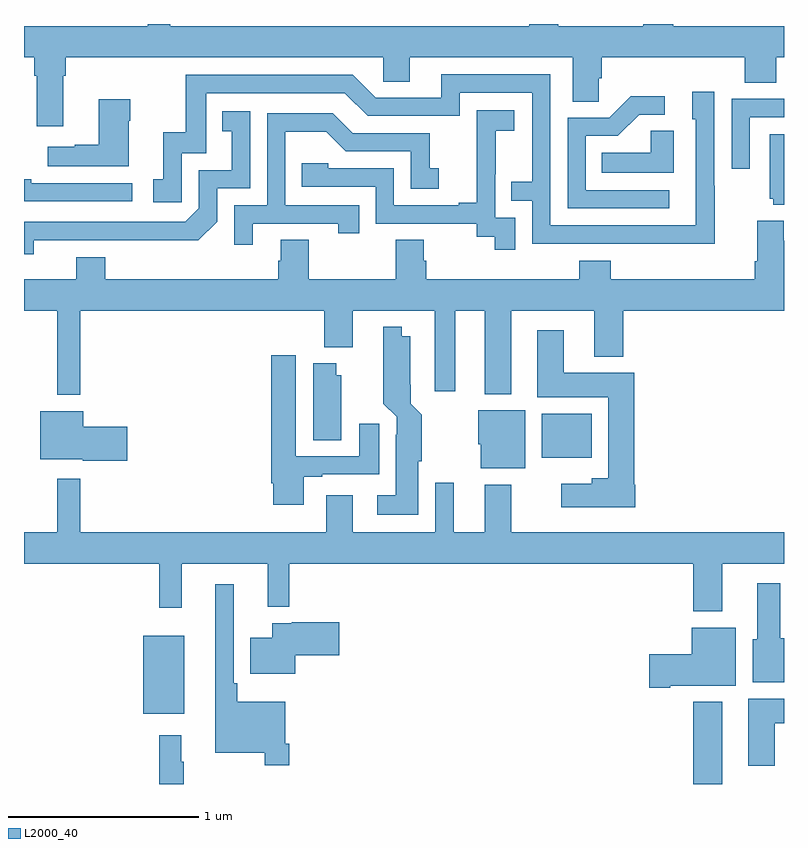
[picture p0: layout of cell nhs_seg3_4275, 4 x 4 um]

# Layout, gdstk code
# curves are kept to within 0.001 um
import gdstk
lib = gdstk.Library(unit=1e-6, precision=1e-09)
def R(c, l, rs):  # rectangles x0, y0, x1, y1
    for r in rs: c.add(gdstk.rectangle(r[:2], r[2:], *l))
def P(c, l, *ps):  # polygons
    for p in ps: c.add(gdstk.Polygon(p, *l))
L2000_40 = (2000, 40)

nhs_seg3_4275 = lib.new_cell('nhs_seg3_4275')
R(nhs_seg3_4275, L2000_40, [(340.523,722.4,340.675,722.833), (337.628,722.771,337.843,723.181), (339.725,724.118,339.988,724.348)])
P(nhs_seg3_4275, L2000_40, [(337.207,726.128),(337.22,726.128),(337.22,726.224),(338.892,726.224),(338.892,726.097),(339.031,726.097),(339.031,726.224),(339.887,726.224),(339.887,725.992),(340.026,725.992),(340.026,726.115),(340.04,726.115),(340.04,726.224),(340.793,726.224),(340.793,726.091),(340.958,726.091),(340.958,726.224),(341,726.224),(341,726.388),(340.418,726.388),(340.418,726.4),(340.258,726.4),(340.258,726.388),(339.813,726.388),(339.813,726.4),(339.658,726.4),(339.658,726.388),(337.771,726.388),(337.771,726.4),(337.65,726.4),(337.65,726.388),(337,726.388),(337,726.224),(337.055,726.224),(337.055,726.128),(337.067,726.128),(337.067,725.862),(337.207,725.862)],
  [(340.635,725.549),(340.632,725.549),(340.632,726.043),(340.517,726.043),(340.517,725.898),(340.536,725.898),(340.536,725.34),(339.771,725.34),(339.771,726.135),(339.197,726.135),(339.197,726.012),(338.85,726.012),(338.73,726.132),(337.851,726.132),(337.851,725.83),(337.733,725.83),(337.733,725.583),(337.68,725.583),(337.68,725.463),(337.83,725.463),(337.83,725.721),(337.959,725.721),(337.959,726.036),(338.688,726.036),(338.808,725.916),(339.294,725.916),(339.294,726.039),(339.675,726.039),(339.675,725.57),(339.565,725.57),(339.565,725.469),(339.675,725.469),(339.675,725.244),(340.635,725.243)],
  [(340.396,725.526),(339.957,725.526),(339.957,725.811),(340.126,725.811),(340.237,725.922),(340.372,725.922),(340.372,726.02),(340.193,726.02),(340.08,725.907),(339.861,725.907),(339.861,725.43),(340.396,725.43)],
  [(340.821,725.91),(341,725.91),(341,726.006),(340.725,726.006),(340.725,725.637),(340.821,725.637)],
  [(337.552,725.891),(337.56,725.891),(337.56,726.004),(337.394,726.004),(337.394,725.765),(337.268,725.765),(337.268,725.755),(337.125,725.755),(337.125,725.651),(337.552,725.651)],
  [(339.585,725.379),(339.48,725.379),(339.48,725.609),(339.482,725.609),(339.482,725.837),(339.58,725.837),(339.58,725.947),(339.382,725.947),(339.382,725.741),(339.383,725.741),(339.383,725.458),(339.287,725.458),(339.287,725.445),(338.946,725.445),(338.946,725.64),(338.601,725.64),(338.601,725.667),(338.461,725.667),(338.461,725.544),(338.85,725.544),(338.85,725.349),(339.384,725.349),(339.384,725.281),(339.477,725.281),(339.477,725.211),(339.585,725.211)],
  [(337.05,725.262),(337.918,725.261),(338.016,725.358),(338.016,725.535),(338.19,725.535),(338.19,725.941),(338.044,725.941),(338.044,725.835),(338.093,725.835),(338.093,725.631),(337.92,725.631),(337.92,725.43),(337.848,725.358),(337,725.358),(337,725.189),(337.05,725.189)],
  [(338.203,725.349),(338.654,725.349),(338.654,725.298),(338.765,725.298),(338.765,725.445),(338.376,725.445),(338.376,725.834),(338.59,725.834),(338.694,725.73),(339.036,725.73),(339.036,725.532),(339.184,725.532),(339.184,725.641),(339.135,725.641),(339.135,725.826),(338.731,725.826),(338.626,725.931),(338.28,725.931),(338.28,725.445),(338.106,725.445),(338.106,725.238),(338.203,725.238)],
  [(340.42,725.837),(340.299,725.837),(340.299,725.722),(340.042,725.722),(340.042,725.618),(340.42,725.618)],
  [(341,725.821),(340.925,725.821),(340.925,725.481),(340.943,725.481),(340.943,725.45),(341,725.45)],
  [(337.57,725.562),(337.037,725.562),(337.037,725.582),(337,725.582),(337,725.466),(337.57,725.466)],
  [(340.859,725.365),(340.859,725.152),(340.847,725.152),(340.847,725.056),(340.088,725.056),(340.088,725.155),(339.923,725.155),(339.923,725.056),(339.116,725.056),(339.116,725.154),(339.103,725.154),(339.103,725.264),(338.956,725.264),(338.956,725.056),(338.499,725.056),(338.499,725.264),(338.351,725.264),(338.351,725.154),(338.339,725.154),(338.339,725.056),(337.427,725.056),(337.427,725.173),(337.274,725.173),(337.274,725.056),(337,725.056),(337,724.892),(337.175,724.892),(337.175,724.448),(337.297,724.448),(337.297,724.892),(338.579,724.892),(338.579,724.7),(338.731,724.7),(338.731,724.892),(339.161,724.892),(339.161,724.467),(339.271,724.467),(339.271,724.892),(339.425,724.892),(339.425,724.451),(339.565,724.451),(339.565,724.892),(340.001,724.892),(340.001,724.649),(340.154,724.649),(340.154,724.892),(341,724.892),(341,725.258),(340.999,725.258),(340.999,725.365)],
  [(339.076,724.098),(339.094,724.098),(339.094,724.343),(339.035,724.402),(339.034,724.756),(338.989,724.756),(338.989,724.807),(338.892,724.807),(338.891,724.402),(338.961,724.332),(338.961,724.238),(338.957,724.238),(338.957,723.919),(338.859,723.919),(338.859,723.818),(339.076,723.818)],
  [(340.216,723.975),(340.211,723.975),(340.211,724.564),(339.841,724.564),(339.841,724.789),(339.701,724.789),(339.701,724.436),(340.076,724.436),(340.076,724.009),(339.989,724.009),(339.989,723.979),(339.828,723.979),(339.828,723.857),(340.216,723.857)],
  [(338.473,724.017),(338.569,724.017),(338.569,724.029),(338.869,724.029),(338.869,724.297),(338.765,724.297),(338.765,724.125),(338.431,724.125),(338.431,724.657),(338.3,724.657),(338.3,723.982),(338.312,723.982),(338.312,723.87),(338.473,723.87)],
  [(338.671,724.551),(338.644,724.551),(338.644,724.615),(338.522,724.615),(338.522,724.21),(338.671,724.21)],
  [(339.637,724.366),(339.392,724.366),(339.392,724.188),(339.404,724.188),(339.404,724.061),(339.637,724.061)],
  [(337.543,724.28),(337.312,724.28),(337.312,724.363),(337.085,724.363),(337.085,724.109),(337.308,724.109),(337.308,724.102),(337.543,724.102)],
  [(340.675,723.56),(341,723.56),(341,723.724),(339.565,723.724),(339.565,723.976),(339.425,723.976),(339.425,723.724),(339.262,723.724),(339.262,723.985),(339.165,723.985),(339.165,723.724),(338.731,723.724),(338.731,723.919),(338.591,723.919),(338.591,723.724),(337.297,723.724),(337.297,724.006),(337.175,724.006),(337.175,723.724),(337,723.724),(337,723.56),(337.711,723.56),(337.711,723.327),(337.829,723.327),(337.829,723.56),(338.282,723.56),(338.282,723.332),(338.395,723.332),(338.395,723.56),(340.523,723.56),(340.523,723.308),(340.675,723.308)],
  [(341,723.166),(340.981,723.166),(340.981,723.457),(340.859,723.457),(340.859,723.162),(340.835,723.162),(340.835,722.936),(341,722.936)],
  [(338.396,722.611),(338.376,722.611),(338.376,722.833),(338.123,722.833),(338.123,722.929),(338.103,722.929),(338.103,723.451),(338.006,723.451),(338.006,722.564),(338.268,722.564),(338.268,722.499),(338.396,722.499)],
  [(338.428,723.077),(338.659,723.077),(338.659,723.252),(338.41,723.252),(338.41,723.247),(338.306,723.247),(338.306,723.169),(338.192,723.169),(338.192,722.981),(338.428,722.981)],
  [(340.402,722.918),(340.747,722.918),(340.747,723.223),(340.514,723.223),(340.514,723.084),(340.29,723.084),(340.29,722.906),(340.402,722.906)],
  [(340.951,722.72),(341,722.72),(341,722.848),(340.811,722.848),(340.811,722.496),(340.951,722.496)],
  [(337.84,722.516),(337.828,722.516),(337.828,722.656),(337.711,722.656),(337.711,722.4),(337.84,722.4)])

lib.write_gds('nhs_seg3_4275.gds')
